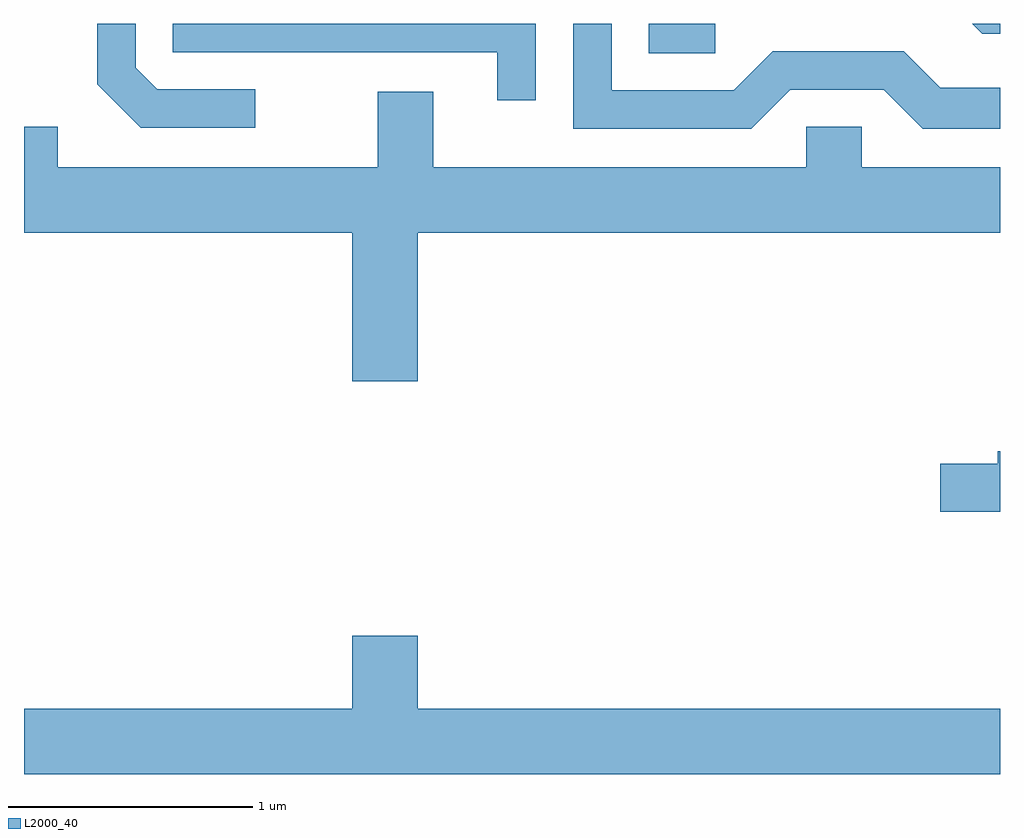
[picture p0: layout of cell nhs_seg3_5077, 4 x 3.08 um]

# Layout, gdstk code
import gdstk
lib = gdstk.Library(unit=1e-6, precision=1e-09)
def R(c, l, rs):  # rectangles x0, y0, x1, y1
    for r in rs: c.add(gdstk.rectangle(r[:2], r[2:], *l))
def P(c, l, *ps):  # polygons
    for p in ps: c.add(gdstk.Polygon(p, *l))
L2000_40 = (2000, 40)

nhs_seg3_5077 = lib.new_cell('nhs_seg3_5077')
R(nhs_seg3_5077, L2000_40, [(336.171,1217.771,336.443,1217.892)])
P(nhs_seg3_5077, L2000_40, [(337.611,1217.892),(337.498,1217.892),(337.539,1217.851),(337.611,1217.851)],
  [(335.709,1217.892),(334.221,1217.892),(334.221,1217.776),(335.551,1217.776),(335.551,1217.578),(335.709,1217.578)],
  [(334.558,1217.624),(334.157,1217.624),(334.069,1217.712),(334.069,1217.892),(333.911,1217.892),(333.911,1217.644),(334.089,1217.466),(334.558,1217.466)],
  [(336.752,1217.621),(337.134,1217.621),(337.294,1217.461),(337.611,1217.461),(337.611,1217.629),(337.367,1217.629),(337.217,1217.779),(336.679,1217.779),(336.519,1217.619),(336.019,1217.619),(336.019,1217.892),(335.861,1217.892),(335.861,1217.461),(336.592,1217.461)],
  [(335.224,1217.036),(337.611,1217.036),(337.611,1217.304),(337.044,1217.304),(337.044,1217.469),(336.816,1217.469),(336.816,1217.304),(335.289,1217.304),(335.289,1217.614),(335.061,1217.614),(335.061,1217.304),(333.749,1217.304),(333.749,1217.469),(333.611,1217.469),(333.611,1217.036),(334.956,1217.036),(334.956,1216.426),(335.224,1216.426)],
  [(337.611,1216.139),(337.601,1216.139),(337.601,1216.089),(337.366,1216.089),(337.366,1215.891),(337.611,1215.891)],
  [(337.611,1215.084),(335.224,1215.084),(335.224,1215.384),(334.956,1215.384),(334.956,1215.084),(333.611,1215.084),(333.611,1214.816),(337.611,1214.816)])

lib.write_gds('nhs_seg3_5077.gds')
